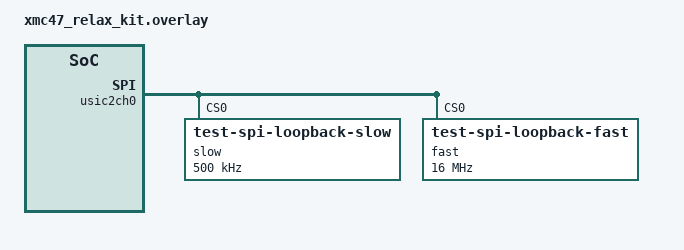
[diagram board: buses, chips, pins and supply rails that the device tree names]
/*
 * Copyright (c) 2023 Schlumberger
 *
 * SPDX-License-Identifier: Apache-2.0
 */

&spi_mosi_p3_8_u2c0 {
	drive-strength = "strong-soft-edge";
	drive-push-pull;
	hwctrl = "disabled";
};

&spi_miso_p3_7_u2c0 {
	drive-strength = "strong-soft-edge";
	hwctrl = "disabled";
};

&spi_sclk_p3_9_u2c0 {
	drive-strength = "strong-soft-edge";
	drive-push-pull;
	hwctrl = "disabled";
};

&usic2ch0 {
	compatible = "infineon,xmc4xxx-spi";
	pinctrl-0 = <&spi_mosi_p3_8_u2c0 &spi_miso_p3_7_u2c0 &spi_sclk_p3_9_u2c0>;
	pinctrl-names = "default";
	miso-src = "DX0C";
	interrupts = <96 1>;
	interrupt-names = "rx";

	#address-cells = <1>;
	#size-cells = <0>;
	status = "okay";

	slow@0 {
		compatible = "test-spi-loopback-slow";
		reg = <0>;
		spi-max-frequency = <500000>;
	};
	fast@0 {
		compatible = "test-spi-loopback-fast";
		reg = <0>;
		spi-max-frequency = <16000000>;
	};
};
